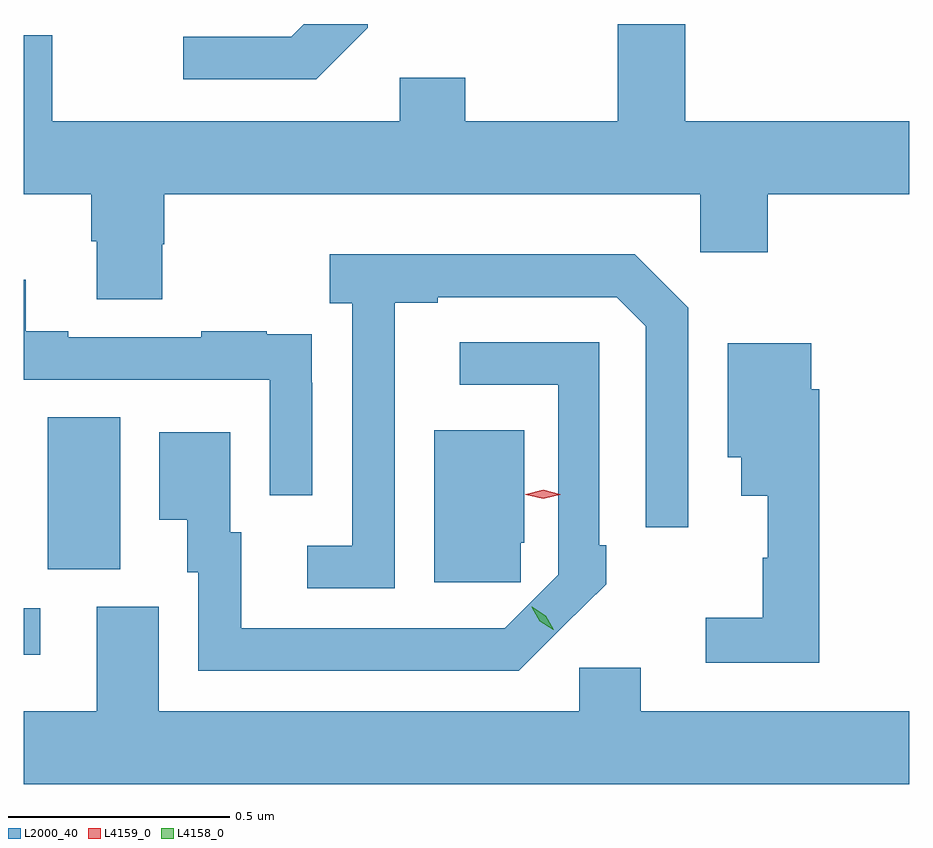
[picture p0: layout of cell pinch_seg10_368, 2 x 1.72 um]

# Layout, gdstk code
import gdstk
lib = gdstk.Library(unit=1e-6, precision=1e-09)
def R(c, l, rs):  # rectangles x0, y0, x1, y1
    for r in rs: c.add(gdstk.rectangle(r[:2], r[2:], *l))
def P(c, l, *ps):  # polygons
    for p in ps: c.add(gdstk.Polygon(p, *l))
L2000_40 = (2000, 40)
L4158_0 = (4158, 0)
L4159_0 = (4159, 0)

pinch_seg10_368 = lib.new_cell('pinch_seg10_368')
R(pinch_seg10_368, L2000_40, [(394.37,1261.98,394.408,1262.085), (394.424,1262.173,394.588,1262.516)])
P(pinch_seg10_368, L2000_40, [(394.683,1262.907),(394.688,1262.907),(394.688,1263.02),(395.898,1263.02),(395.898,1262.889),(396.05,1262.889),(396.05,1263.02),(396.37,1263.02),(396.37,1263.184),(395.864,1263.184),(395.864,1263.404),(395.711,1263.404),(395.711,1263.184),(395.367,1263.184),(395.367,1263.283),(395.219,1263.283),(395.219,1263.184),(394.435,1263.184),(394.435,1263.379),(394.37,1263.379),(394.37,1263.02),(394.523,1263.02),(394.523,1262.914),(394.535,1262.914),(394.535,1262.782),(394.683,1262.782)],
  [(395.147,1263.395),(395.147,1263.404),(395.003,1263.404),(394.974,1263.375),(394.731,1263.375),(394.731,1263.279),(395.031,1263.279)],
  [(395.208,1262.775),(395.305,1262.775),(395.305,1262.787),(395.709,1262.787),(395.775,1262.721),(395.775,1262.268),(395.871,1262.268),(395.871,1262.763),(395.75,1262.884),(395.061,1262.884),(395.061,1262.774),(395.112,1262.774),(395.112,1262.226),(395.01,1262.226),(395.01,1262.13),(395.208,1262.13)],
  [(395.022,1262.594),(395.021,1262.594),(395.021,1262.703),(394.919,1262.703),(394.919,1262.71),(394.771,1262.71),(394.771,1262.697),(394.471,1262.697),(394.471,1262.71),(394.375,1262.71),(394.375,1262.827),(394.37,1262.827),(394.37,1262.601),(394.926,1262.601),(394.926,1262.34),(395.022,1262.34)],
  [(395.589,1262.044),(395.685,1262.139),(395.685,1262.227),(395.67,1262.227),(395.67,1262.685),(395.355,1262.685),(395.355,1262.589),(395.577,1262.589),(395.577,1262.161),(395.456,1262.04),(394.861,1262.04),(394.861,1262.256),(394.837,1262.256),(394.837,1262.482),(394.676,1262.482),(394.676,1262.285),(394.739,1262.285),(394.739,1262.166),(394.764,1262.166),(394.764,1261.944),(395.488,1261.944)],
  [(396.167,1262.579),(396.148,1262.579),(396.148,1262.683),(395.96,1262.683),(395.96,1262.426),(395.99,1262.426),(395.99,1262.339),(396.05,1262.339),(396.05,1262.199),(396.039,1262.199),(396.039,1262.063),(395.91,1262.063),(395.91,1261.962),(396.167,1261.962)],
  [(395.493,1262.233),(395.5,1262.233),(395.5,1262.487),(395.297,1262.487),(395.297,1262.143),(395.493,1262.143)],
  [(396.37,1261.852),(395.764,1261.852),(395.764,1261.95),(395.625,1261.95),(395.625,1261.852),(394.675,1261.852),(394.675,1262.088),(394.535,1262.088),(394.535,1261.852),(394.37,1261.852),(394.37,1261.688),(396.37,1261.688)])
P(pinch_seg10_368, L4158_0, [(395.566,1262.036),(395.535,1262.055),(395.517,1262.087),(395.517,1262.088),(395.518,1262.088),(395.549,1262.068),(395.567,1262.036),(395.567,1262.036)])
P(pinch_seg10_368, L4159_0, [(395.543,1262.332),(395.504,1262.341),(395.503,1262.342),(395.504,1262.342),(395.543,1262.352),(395.582,1262.342),(395.582,1262.342),(395.582,1262.341)])

lib.write_gds('pinch_seg10_368.gds')
